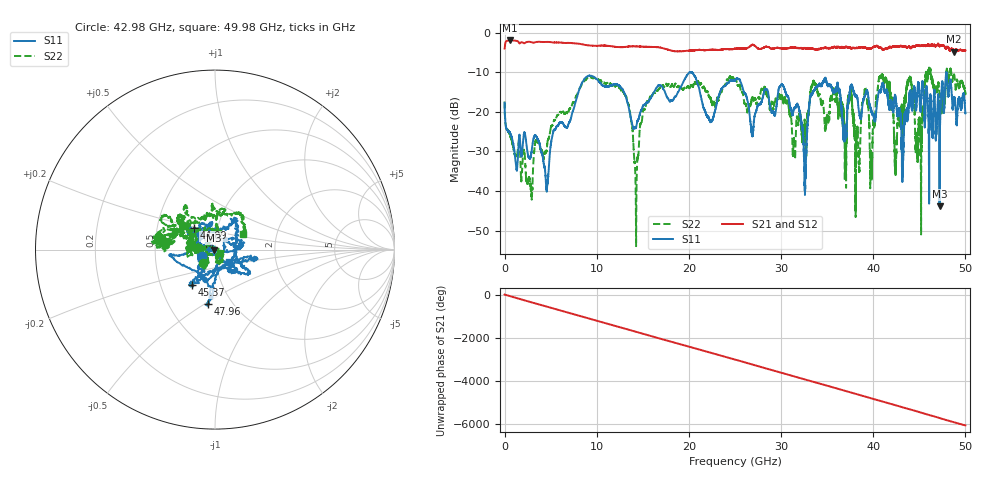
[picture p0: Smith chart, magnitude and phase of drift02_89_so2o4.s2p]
!Created with skrf (http://scikit-rf.org).
# Hz S RI R 50.0
!freq ReS11 ImS11 ReS21 ImS21 ReS12 ImS12 ReS22 ImS22
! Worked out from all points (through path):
!   10001 points, 300 kHz to 50 GHz, reference 50 ohm
!   highest |S21| = -1.99 dB at 585.3 MHz (marker M1); lowest = -4.8 dB at 48.77 GHz (marker M2)
!   group delay of S21, straight-line fit = 337 ps
!   lowest |S11| = -43.8 dB at 47.2 GHz (marker M3), VSWR 1.01, Z = 49.5 - j0.35 ohm
!   |S11| at or under -10 dB: start of sweep to 20.07 GHz; 20.20727 GHz to 20.22248 GHz (15.21 MHz wide, 0.0752 % of centre); 20.24 GHz to end of sweep (the widest 3 of 4)
!   |S22| runs from -53.9 to -8.8 dB; largest |S21 - S12| = 0.034
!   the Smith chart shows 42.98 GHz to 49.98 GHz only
!   S11 on the Smith chart (normalised r, x): 42.98 GHz: 0.86, -0.07; 44.09 GHz: 0.77, +0.19; 45.37 GHz: 0.72, -0.30; 47.96 GHz: 0.77, -0.51; 49.98 GHz: 1.15, -0.16
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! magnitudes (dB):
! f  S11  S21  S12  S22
! 300 kHz  -17.7  -4.0  -4.0  -17.4
! 585.3 MHz  -25.2  -2.0  -2.0  -26.0
! 4.565 GHz  -39.9  -2.4  -2.4  -29.4
! 8.335 GHz  -13.0  -2.9  -2.9  -13.2
! 13.01 GHz  -15.3  -3.6  -3.6  -15.8
! 14.28 GHz  -23.9  -3.5  -3.5  -50.6
! 16.67 GHz  -13.3  -3.7  -3.7  -14.5
! 25 GHz  -12.1  -4.1  -4.1  -12.1
! 26.86 GHz  -25.9  -3.1  -3.1  -16.5
! 30.19 GHz  -13.3  -4.0  -4.1  -16.7
! 32.58 GHz  -38.3  -3.9  -4.0  -24.3
! 33.34 GHz  -15.7  -4.0  -4.0  -13.6
! 38.3 GHz  -16.7  -3.9  -3.9  -24.2
! 41.67 GHz  -18.3  -3.8  -3.9  -12.4
! 42.98 GHz  -21.7  -3.4  -3.4  -19.7
! 44.09 GHz  -15.6  -3.9  -3.9  -12.1
! 45.37 GHz  -12.5  -3.3  -3.3  -19.4
! 47.2 GHz  -43.8  -3.5  -3.4  -15.9
! 47.96 GHz  -10.3  -3.9  -3.9  -10.0
! 48.77 GHz  -17.0  -4.8  -4.8  -10.6
! 49.98 GHz  -19.9  -4.6  -4.5  -14.9
! 50 GHz  -20.4  -4.5  -4.5  -15.1
